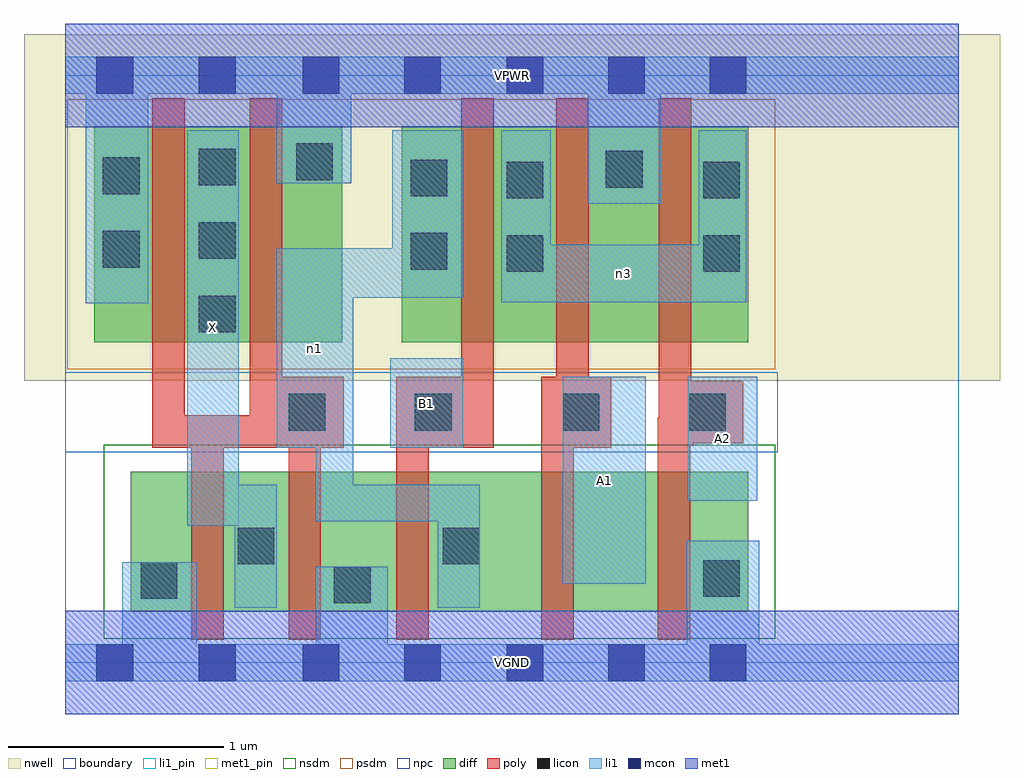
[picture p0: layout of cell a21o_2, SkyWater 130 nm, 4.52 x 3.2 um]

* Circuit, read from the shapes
.subckt a21o_2 A1 A2 B1 VGND VPWR X n1 n3
XM1 X n1 VGND VSUBS sky130_fd_pr__nfet_01v8 w=0.65 l=0.15 m=2
XM2 n1 B1 VGND VSUBS sky130_fd_pr__nfet_01v8 w=0.65 l=0.15
XM3 n2 A1 n1 VSUBS sky130_fd_pr__nfet_01v8 w=0.65 l=0.15
XM4 VGND A2 n2 VSUBS sky130_fd_pr__nfet_01v8 w=0.65 l=0.15
XM5 X n1 VPWR n4 sky130_fd_pr__pfet_01v8 w=1 l=0.15 m=2
XM6 n3 B1 n1 n4 sky130_fd_pr__pfet_01v8 w=1 l=0.15
XM7 VPWR A1 n3 n4 sky130_fd_pr__pfet_01v8 w=1 l=0.15
XM8 n3 A2 VPWR n4 sky130_fd_pr__pfet_01v8 w=1 l=0.15
.ends

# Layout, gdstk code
import gdstk
lib = gdstk.Library(unit=1e-6, precision=1e-09)
def R(c, l, rs):  # rectangles x0, y0, x1, y1
    for r in rs: c.add(gdstk.rectangle(r[:2], r[2:], *l))
def A(c, l, x, y, w, h, nx, ny, dx, dy):  # array of equal rectangles
    R(c, l, [(x+i*dx, y+j*dy, x+i*dx+w, y+j*dy+h) for i in range(nx) for j in range(ny)])
nwell = (64, 20)
diff = (65, 20)
poly = (66, 20)
licon = (66, 44)
li1_pin = (67, 16)
li1 = (67, 20)
mcon = (67, 44)
met1_pin = (68, 16)
met1 = (68, 20)
nsdm = (93, 44)
psdm = (94, 20)
npc = (95, 20)
boundary = (235, 4)

a21o_2 = lib.new_cell('a21o_2')
R(a21o_2, nwell, [(-0.19,1.305,4.33,2.91), (0,1.305,4.14,2.91)])
R(a21o_2, diff, [(0.305,0.235,3.165,0.885), (0.135,1.485,1.285,2.485), (1.56,1.485,3.165,2.485)])
R(a21o_2, poly, [(0.585,0.105,0.735,1.145), (1.035,0.105,1.185,1.325), (1.535,0.105,1.685,1.325), (2.205,0.105,2.355,1.325), (2.275,0.105,2.355,2.615), (2.745,0.105,2.895,1.135), (0.405,0.995,0.555,2.615), (0.405,0.995,1.29,1.145), (0.855,0.995,1.005,2.615), (0.855,0.995,1.29,1.325), (1.535,0.995,1.985,1.325), (1.835,0.995,1.985,2.615), (2.205,0.995,2.53,1.325), (2.355,0.995,2.425,2.615), (2.745,1.005,2.91,1.135), (2.75,1.005,2.9,2.615), (2.75,1.015,3.14,1.305)])
A(a21o_2, licon, 0.62, 1.53, 0.17, 0.17, 1, 3, 0, 0.34)
R(a21o_2, licon, [(1.245,0.275,1.415,0.445), (0.35,0.295,0.52,0.465), (2.955,0.305,3.125,0.475), (0.8,0.455,0.97,0.625), (1.75,0.455,1.92,0.625), (1.035,1.075,1.205,1.245), (1.62,1.075,1.79,1.245), (2.305,1.075,2.475,1.245), (2.89,1.075,3.06,1.245), (2.045,1.81,2.215,1.98), (2.955,1.81,3.125,1.98), (1.6,1.82,1.77,1.99), (0.175,1.83,0.345,2), (2.045,2.15,2.215,2.32), (2.955,2.15,3.125,2.32), (1.6,2.16,1.77,2.33), (0.175,2.17,0.345,2.34), (2.505,2.2,2.675,2.37), (1.07,2.235,1.24,2.405)])
R(a21o_2, li1_pin, [(2.305,0.365,2.69,1.325), (0.565,0.635,0.805,2.465), (2.885,0.75,3.205,1.325), (1.505,0.995,1.845,1.41)])
R(a21o_2, li1, [(0,-0.085,4.14,0.085), (0.265,-0.085,0.61,0.465), (1.16,-0.085,1.495,0.445), (2.88,-0.085,3.215,0.565), (0.785,0.255,0.98,0.825), (1.725,0.255,1.92,0.825), (2.305,0.365,2.69,1.325), (0.565,0.635,0.805,2.465), (1.16,0.655,1.92,0.825), (1.16,0.655,1.335,1.92), (2.885,0.75,3.205,1.325), (0.98,0.995,1.335,1.92), (1.505,0.995,1.845,1.41), (0.095,1.665,0.385,2.805), (2.02,1.67,3.155,1.935), (2.02,1.67,2.25,2.465), (2.935,1.67,3.155,2.465), (0.98,1.69,1.845,1.92), (1.515,1.69,1.845,2.465), (2.42,2.125,2.76,2.805), (0.98,2.22,1.325,2.805), (0,2.635,4.14,2.805)])
A(a21o_2, mcon, 2.045, -0.085, 0.17, 0.17, 3, 2, 0.47, 2.72)
R(a21o_2, mcon, [(0.145,-0.085,0.315,0.085), (0.62,-0.085,0.79,0.085), (1.1,-0.085,1.27,0.085), (1.57,-0.085,1.74,0.085), (0.145,2.635,0.315,2.805), (0.62,2.635,0.79,2.805), (1.1,2.635,1.27,2.805), (1.57,2.635,1.74,2.805)])
R(a21o_2, met1_pin, [(0,-0.24,4.14,0.24), (0,2.48,4.14,2.96)])
R(a21o_2, met1, [(0,-0.24,4.14,0.24), (0,2.48,4.14,2.96)])
R(a21o_2, nsdm, [(0.18,0.11,3.29,1.01)])
R(a21o_2, psdm, [(0.01,1.36,3.29,2.61)])
R(a21o_2, npc, [(0,0.975,3.3,1.345)])
R(a21o_2, boundary, [(0,0,4.14,2.72)])
a21o_2.add(gdstk.Label('A1', (2.497,0.845), layer=67, texttype=5))
a21o_2.add(gdstk.Label('A2', (3.045,1.037), layer=67, texttype=5))
a21o_2.add(gdstk.Label('B1', (1.675,1.202), layer=67, texttype=5))
a21o_2.add(gdstk.Label('X', (0.685,1.55), layer=67, texttype=5))
a21o_2.add(gdstk.Label('n1', (1.157,1.457), layer=67, texttype=5))
a21o_2.add(gdstk.Label('n3', (2.587,1.802), layer=67, texttype=5))
a21o_2.add(gdstk.Label('VPWR', (2.07,2.72), layer=68, texttype=5))
a21o_2.add(gdstk.Label('VGND', (2.07,0), layer=68, texttype=5))
a21o_2.add(gdstk.Label('A1', (2.497,0.845), layer=67, texttype=16))
a21o_2.add(gdstk.Label('A2', (3.045,1.037), layer=67, texttype=16))
a21o_2.add(gdstk.Label('B1', (1.675,1.202), layer=67, texttype=16))
a21o_2.add(gdstk.Label('X', (0.685,1.55), layer=67, texttype=16))
a21o_2.add(gdstk.Label('VPWR', (2.07,2.72), layer=68, texttype=16))
a21o_2.add(gdstk.Label('VGND', (2.07,0), layer=68, texttype=16))

lib.write_gds('a21o_2.gds')
